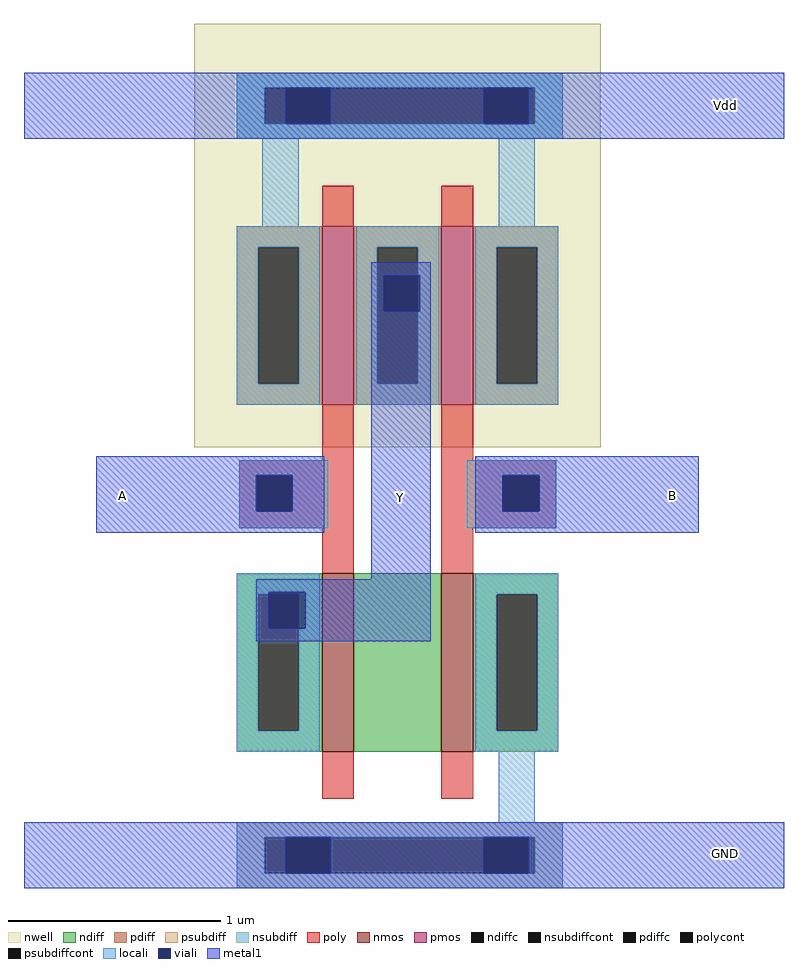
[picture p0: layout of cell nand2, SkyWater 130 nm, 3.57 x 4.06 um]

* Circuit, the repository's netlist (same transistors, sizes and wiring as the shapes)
* NGSPICE file created from nand2.ext - technology: sky130A

.subckt nand2 A B Vdd GND Y
X0 GND B a_18_n404# GND sky130_fd_pr__nfet_01v8 ad=0.336 pd=2.48 as=0.1722 ps=1.25 w=0.84 l=0.15
X1 Vdd B Y Vdd sky130_fd_pr__pfet_01v8 ad=0.336 pd=2.48 as=0.1722 ps=1.25 w=0.84 l=0.15
X2 Y A Vdd Vdd sky130_fd_pr__pfet_01v8 ad=0.1722 pd=1.25 as=0.336 ps=2.48 w=0.84 l=0.15
X3 a_18_n404# A Y GND sky130_fd_pr__nfet_01v8 ad=0.1722 pd=1.25 as=0.336 ps=2.48 w=0.84 l=0.15
.ends

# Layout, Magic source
magic
tech sky130A
magscale 1 2
<< nwell >>
rect -132 -118 250 280
<< nmos >>
rect -12 -404 18 -236
rect 100 -404 130 -236
<< pmos >>
rect -12 -78 18 90
rect 100 -78 130 90
<< ndiff >>
rect -92 -256 -12 -236
rect -92 -384 -72 -256
rect -34 -384 -12 -256
rect -92 -404 -12 -384
rect 18 -404 100 -236
rect 130 -256 210 -236
rect 130 -384 152 -256
rect 190 -384 210 -256
rect 130 -404 210 -384
<< pdiff >>
rect -92 70 -12 90
rect -92 -58 -72 70
rect -34 -58 -12 70
rect -92 -78 -12 -58
rect 18 70 100 90
rect 18 -58 40 70
rect 78 -58 100 70
rect 18 -78 100 -58
rect 130 70 210 90
rect 130 -58 152 70
rect 190 -58 210 70
rect 130 -78 210 -58
<< ndiffc >>
rect -72 -384 -34 -256
rect 152 -384 190 -256
<< pdiffc >>
rect -72 -58 -34 70
rect 40 -58 78 70
rect 152 -58 190 70
<< psubdiff >>
rect -92 -484 214 -470
rect -92 -518 -66 -484
rect 188 -518 214 -484
rect -92 -532 214 -518
<< nsubdiff >>
rect -92 220 214 234
rect -92 186 -66 220
rect 188 186 214 220
rect -92 172 214 186
<< psubdiffcont >>
rect -66 -518 188 -484
<< nsubdiffcont >>
rect -66 186 188 220
<< poly >>
rect -12 90 18 128
rect 100 90 130 128
rect -12 -130 18 -78
rect -90 -144 18 -130
rect -90 -178 -74 -144
rect -40 -178 18 -144
rect -90 -194 18 -178
rect -12 -236 18 -194
rect 100 -130 130 -78
rect 100 -144 208 -130
rect 100 -178 158 -144
rect 192 -178 208 -144
rect 100 -194 208 -178
rect 100 -236 130 -194
rect -12 -448 18 -404
rect 100 -448 130 -404
<< polycont >>
rect -74 -178 -40 -144
rect 158 -178 192 -144
<< locali >>
rect -92 220 214 234
rect -92 186 -66 220
rect 188 186 214 220
rect -92 172 214 186
rect -68 90 -34 172
rect 154 90 188 172
rect -92 70 -14 90
rect -92 -58 -72 70
rect -34 -58 -14 70
rect -92 -78 -14 -58
rect 20 70 98 90
rect 20 -58 40 70
rect 78 44 98 70
rect 80 10 98 44
rect 78 -58 98 10
rect 20 -78 98 -58
rect 132 70 210 90
rect 132 -58 152 70
rect 190 -58 210 70
rect 132 -78 210 -58
rect -90 -144 -6 -130
rect -90 -178 -74 -144
rect -40 -178 -6 -144
rect -90 -194 -6 -178
rect 124 -144 208 -130
rect 124 -178 158 -144
rect 192 -178 208 -144
rect 124 -194 208 -178
rect -92 -254 -14 -236
rect -92 -256 -62 -254
rect -92 -384 -72 -256
rect -28 -288 -14 -254
rect -34 -384 -14 -288
rect -92 -404 -14 -384
rect 132 -256 210 -236
rect 132 -384 152 -256
rect 190 -384 210 -256
rect 132 -404 210 -384
rect 154 -470 188 -404
rect -92 -484 214 -470
rect -92 -518 -66 -484
rect 188 -518 214 -484
rect -92 -532 214 -518
<< viali >>
rect -46 186 -4 220
rect 140 186 182 220
rect 46 10 78 44
rect 78 10 80 44
rect -74 -178 -40 -144
rect 158 -178 192 -144
rect -62 -256 -28 -254
rect -62 -288 -34 -256
rect -34 -288 -28 -256
rect -46 -518 -4 -484
rect 140 -518 182 -484
<< metal1 >>
rect -292 220 422 234
rect -292 186 -46 220
rect -4 186 140 220
rect 182 186 422 220
rect -292 172 422 186
rect 34 44 90 56
rect 34 10 46 44
rect 80 10 90 44
rect -224 -144 -10 -126
rect -224 -178 -74 -144
rect -40 -178 -10 -144
rect -224 -198 -10 -178
rect 34 -242 90 10
rect 132 -144 342 -126
rect 132 -178 158 -144
rect 192 -178 342 -144
rect 132 -198 342 -178
rect -74 -254 90 -242
rect -74 -288 -62 -254
rect -28 -288 90 -254
rect -74 -300 90 -288
rect -292 -484 422 -470
rect -292 -518 -46 -484
rect -4 -518 140 -484
rect 182 -518 422 -484
rect -292 -532 422 -518
<< labels >>
rlabel metal1 -204 -168 -194 -158 1 A
port 1 n
rlabel metal1 312 -168 322 -158 1 B
port 2 n
rlabel metal1 357 192 377 214 1 Vdd
port 3 n
rlabel metal1 357 -510 377 -488 1 GND
port 4 n
rlabel metal1 57 -170 67 -160 1 Y
port 5 n
<< end >>
